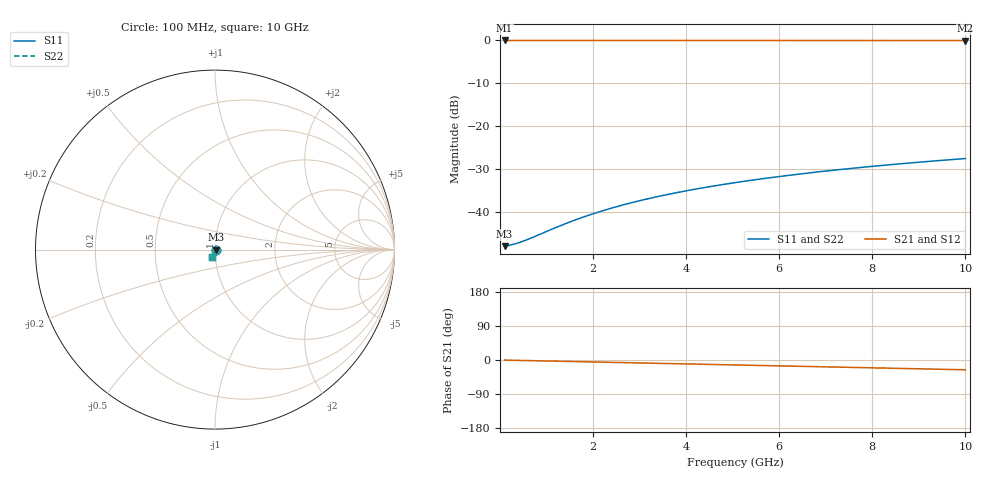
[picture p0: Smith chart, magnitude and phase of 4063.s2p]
# Hz S RI R 50.00
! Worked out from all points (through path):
!   100 points, 100 MHz to 10 GHz, reference 50 ohm
!   highest |S21| = -0.03 dB at 100 MHz (marker M1); lowest = -0.1 dB at 10 GHz (marker M2)
!   group delay of S21, straight-line fit = 7.18 ps
!   lowest |S11| = -47.9 dB at 100 MHz (marker M3), VSWR 1.01, Z = 50.4 - j0.0453 ohm
!   |S11| at or under -10 dB: start of sweep to end of sweep
!   |S22| runs from -47.9 to -27.5 dB; largest |S21 - S12| = 0
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1e8  0.00399 -0.000449  0.996 -0.00449  0.996 -0.00449  0.00399 -0.000449
2e8  0.004 -0.000899  0.9959 -0.00898  0.9959 -0.00898  0.004 -0.000899
3e8  0.00401 -0.00135  0.9959 -0.0135  0.9959 -0.0135  0.00401 -0.00135
5e8  0.00401 -0.00225  0.9957 -0.0224  0.9957 -0.0224  0.00401 -0.00225
7e8  0.00398 -0.00315  0.9954 -0.0314  0.9954 -0.0314  0.00398 -0.00315
1.3e9  0.00378 -0.00583  0.9941 -0.0583  0.9941 -0.0583  0.00378 -0.00583
1.6e9  0.00362 -0.00717  0.9932 -0.0717  0.9932 -0.0717  0.00362 -0.00717
1.8e9  0.00349 -0.00806  0.9925 -0.0807  0.9925 -0.0807  0.00349 -0.00806
2.2e9  0.00319 -0.00984  0.9908 -0.0986  0.9908 -0.0986  0.00319 -0.00984
2.6e9  0.00282 -0.0116  0.9888 -0.1164  0.9888 -0.1164  0.00282 -0.0116
3e9  0.00239 -0.0133  0.9865 -0.1342  0.9865 -0.1342  0.00239 -0.0133
3.4e9  0.0019 -0.0151  0.9839 -0.152  0.9839 -0.152  0.0019 -0.0151
3.8e9  0.00134 -0.0168  0.9809 -0.1697  0.9809 -0.1697  0.00134 -0.0168
4.2e9  0.000724 -0.0185  0.9776 -0.1873  0.9776 -0.1873  0.000724 -0.0185
4.6e9  4.78e-05 -0.0202  0.974 -0.2049  0.974 -0.2049  4.78e-05 -0.0202
5.1e9  -0.000881 -0.0222  0.9691 -0.2268  0.9691 -0.2268  -0.000881 -0.0222
5.9e9  -0.00255 -0.0254  0.9601 -0.2616  0.9601 -0.2616  -0.00255 -0.0254
6.7e9  -0.00445 -0.0285  0.9499 -0.296  0.9499 -0.296  -0.00445 -0.0285
7.5e9  -0.00656 -0.0314  0.9385 -0.33  0.9385 -0.33  -0.00656 -0.0314
8.4e9  -0.00917 -0.0345  0.9241 -0.3677  0.9241 -0.3677  -0.00917 -0.0345
9.2e9  -0.0117 -0.0371  0.9101 -0.4008  0.9101 -0.4008  -0.0117 -0.0371
1e10  -0.0144 -0.0394  0.8949 -0.4333  0.8949 -0.4333  -0.0144 -0.0394
